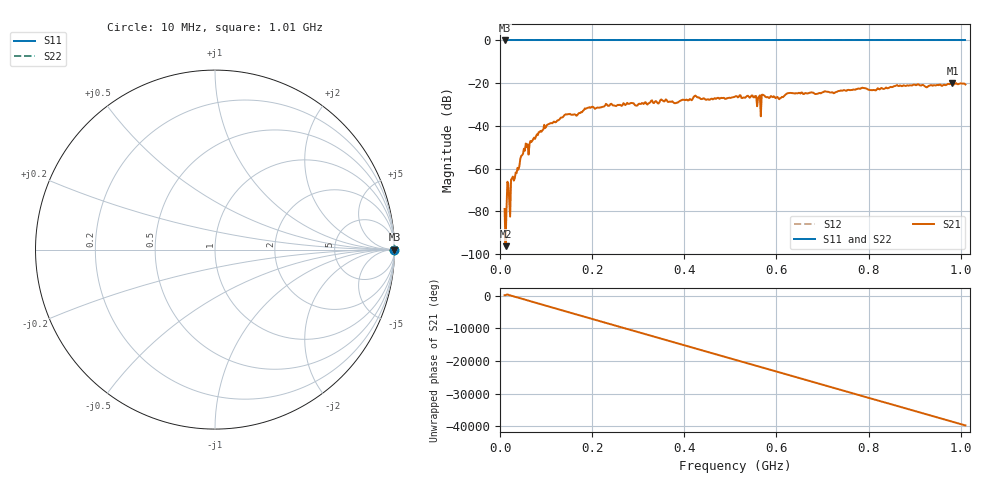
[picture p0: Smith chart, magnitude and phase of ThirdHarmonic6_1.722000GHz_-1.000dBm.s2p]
! 8/16/2025 8:44:00 PM
! C:\ANRITSUVNA\TEMP\TEMP.S2P
! CHANNEL.1
! TR.MEASUREMENT
! RAW.DATA
! RF.CORRECTION.OFF
! AVERAGING.OFF
! IF.BANDWIDTH: 5KHZ
! SWEEPTYPE:  FREQ.SWEEP(Linear)
! Reference Plane Port Info
! PORT:  PORT1  PORT2
! DISTANCE:  0  m  0  m
! TIME:  0  s  0  s
! PHASE.OFFSET:  0  deg.  0  deg.
! LOSS:  0  dB  0  dB
! REF.LOSS:  0  dB  0  dB
! REF.FREQ:  0  Hz  0  Hz
! Power Info
! POWER:  -20  dBm  -20  dBm
! EFF.POWER:  -20  dBm  -20  dBm
! SOURCE.ATTEN:  0  dB  0  dB
! TEST.ATTEN:  0  dB  0  dB
# GHZ S RI R 50.0
! FREQ.GHZ  S11RE  S11IM  S21RE  S21IM  S12RE  S12IM  S22RE  S22IM
!; PortSelection: Port_12
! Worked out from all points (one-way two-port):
!   501 points, 10 MHz to 1.01 GHz, reference 50 ohm
!   highest |S21| = -19.84 dB at 982 MHz (marker M1); lowest = -96.3 dB at 12 MHz (marker M2)
!   lowest |S11| = 0.0 dB at 10 MHz (marker M3)
!   |S11| at or under -10 dB: nowhere
!   |S22| runs from 0.0 to 0.0 dB; largest |S21 - S12| = 1.1
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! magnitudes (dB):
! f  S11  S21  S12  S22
! 10 MHz  0.0  -78.9  0.0  0.0
! 12 MHz  0.0  -96.3  0.0  0.0
! 24 MHz  0.0  -65.2  0.0  0.0
! 28 MHz  0.0  -63.7  0.0  0.0
! 56 MHz  0.0  -48.2  0.0  0.0
! 106 MHz  0.0  -39.1  0.0  0.0
! 178 MHz  0.0  -33.6  0.0  0.0
! 230 MHz  0.0  -29.7  0.0  0.0
! 344 MHz  0.0  -29.6  0.0  0.0
! 382 MHz  0.0  -29.3  0.0  0.0
! 424 MHz  0.0  -25.8  0.0  0.0
! 450 MHz  0.0  -27.6  0.0  0.0
! 510 MHz  0.0  -26.3  0.0  0.0
! 552 MHz  0.0  -26.6  0.0  0.0
! 562 MHz  0.0  -26.4  0.0  0.0
! 572 MHz  0.0  -25.6  0.0  0.0
! 608 MHz  0.0  -27.0  0.0  0.0
! 628 MHz  0.0  -24.6  0.0  0.0
! 678 MHz  0.0  -24.4  0.0  0.0
! 844 MHz  0.0  -22.1  0.0  0.0
! 982 MHz  0.0  -19.8  0.0  0.0
! 1.01 GHz  0.0  -20.6  0.0  0.0
